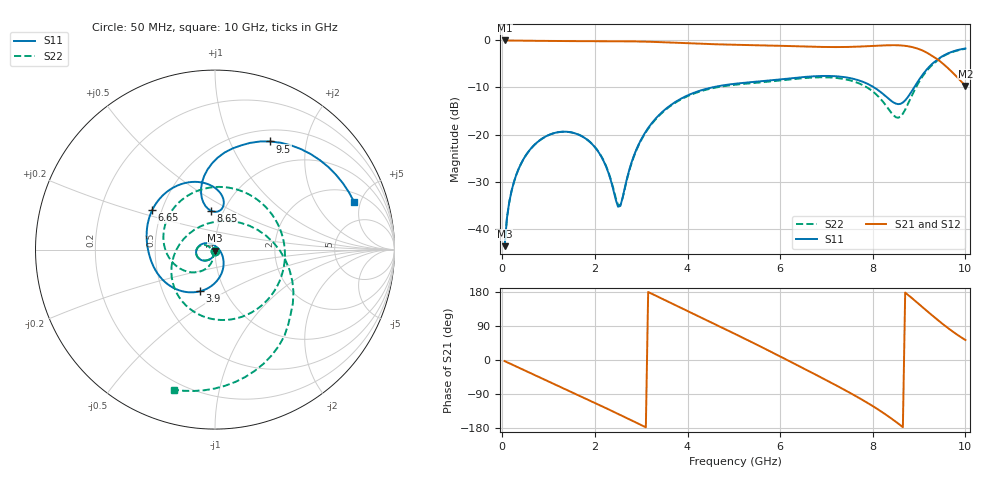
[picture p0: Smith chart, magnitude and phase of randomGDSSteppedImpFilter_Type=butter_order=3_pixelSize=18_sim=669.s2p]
! freq	dB(S11)	phase(S11)	dB(S12)	phase(S12)
!  dB(S21)	phase(S21)	dB(S22)	phase(S22)
!S-par simulation data
#  GHz  S  DB  R 50
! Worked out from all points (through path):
!   200 points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, 50 MHz to 10 GHz, reference 50 ohm
!   highest |S21| = -0.02 dB at 50 MHz (marker M1); lowest = -9.7 dB at 10 GHz (marker M2)
!   group delay of S21, straight-line fit = 178 ps
!   lowest |S11| = -43.7 dB at 50 MHz (marker M3), VSWR 1.01, Z = 50.1 - j0.64 ohm
!   |S11| at or under -10 dB: start of sweep to 4.527 GHz; 8.03 GHz to 8.892 GHz (862.2 MHz wide, 10.2 % of centre)
!   |S22| runs from -43.7 to -1.8 dB; largest |S21 - S12| = 0
!   S11 on the Smith chart (normalised r, x): 50 MHz: 1.00, -0.01; 3.9 GHz: 0.77, -0.38; 6.65 GHz: 0.44, +0.24; 8.65 GHz: 0.87, +0.40; 9.5 GHz: 0.64, +1.43; 10 GHz: 2.73, +4.40
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0.05  -43.68 -77.0  -0.02 -2.9  -0.02 -2.9  -43.68 -76.5
0.2  -31.95 -96.1  -0.04 -11.4  -0.04 -11.4  -31.96 -96.4
0.55  -23.82 -119.5  -0.08 -31.2  -0.08 -31.2  -23.82 -120.6
1.15  -19.60 -154.5  -0.14 -65.1  -0.14 -65.1  -19.62 -155.8
1.75  -20.53 169.9  -0.16 -99.0  -0.16 -99.0  -20.51 171.3
2.2  -25.87 135.9  -0.17 -124.8  -0.17 -124.8  -25.75 153.6
2.5  -35.32 60.4  -0.18 -142.2  -0.18 -142.2  -34.96 -168.3
2.9  -23.06 -49.0  -0.23 -165.8  -0.23 -165.8  -23.23 -104.4
3.4  -15.70 -83.2  -0.37 164.6  -0.37 164.6  -15.84 -128.9
3.9  -12.16 -109.7  -0.57 135.1  -0.57 135.1  -12.31 -161.0
4.5  -10.06 -137.0  -0.80 99.8  -0.80 99.8  -10.24 156.2
5.05  -9.18 -158.1  -0.94 67.3  -0.94 67.3  -9.40 112.3
5.9  -8.39 174.4  -1.12 15.6  -1.12 15.6  -8.62 36.3
6.65  -7.67 147.7  -1.34 -31.3  -1.34 -31.3  -7.92 -30.7
6.7  -7.64 145.7  -1.35 -34.4  -1.35 -34.4  -7.89 -35.0
7.6  -8.21 104.1  -1.36 -92.9  -1.36 -92.9  -8.76 -109.2
8  -9.82 85.7  -1.19 -121.7  -1.19 -121.7  -10.85 -147.1
8.35  -12.45 79.6  -1.04 -149.8  -1.04 -149.8  -14.71 161.0
8.65  -13.19 96.5  -1.11 -177.2  -1.11 -177.2  -15.57 73.7
9.1  -6.99 95.4  -2.28 136.7  -2.28 136.7  -7.29 -15.5
9.5  -3.39 62.9  -4.82 96.0  -4.82 96.0  -3.49 -61.9
10  -1.73 18.8  -9.69 52.7  -9.69 52.7  -1.79 -106.4
